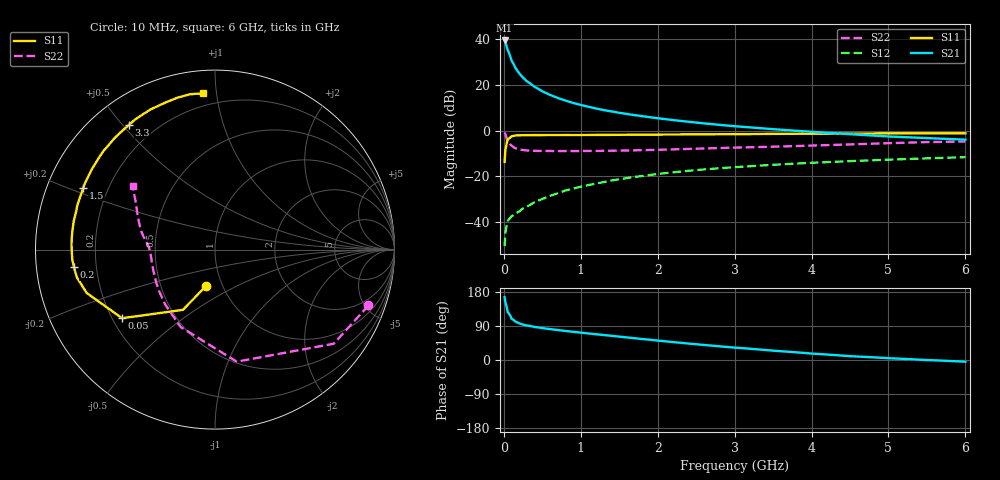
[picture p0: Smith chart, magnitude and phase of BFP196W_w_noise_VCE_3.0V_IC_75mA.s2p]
! Infineon Technologies  Discrete & RF Semiconductors
! BFP196W
! VCE =  3.0 V,  IC =  75 mA
! Common Emitter S-Parameters:  Jan 2017
# GHz  S  MA  R  50
!  f  S11  S21  S12  S22
! GHz  MAG  ANG  MAG  ANG  MAG  ANG  MAG  ANG
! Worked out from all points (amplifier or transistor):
!   77 points, 10 MHz to 6 GHz, reference 50 ohm
!   highest |S21| = 39.4 dB at 10 MHz (marker M1)
!   |S21| within 3 dB of that: start of sweep to 39.53 MHz
!   unconditionally stable (mu >= 1): 507.9 MHz to 3.344 GHz
!   at 130 MHz: K = 0.56, MSG = 32.8 dB, |S12| = -36.7 dB
!   at 2.2 GHz: K = 1.03, MAG = 10.3 dB, |S12| = -18.2 dB
!   at 6 GHz: K = 0.96, MSG = 3.8 dB, |S12| = -11.6 dB
!   lowest NFmin = 1.62 dB at 450 MHz
!   S11 on the Smith chart (normalised r, x): 10 MHz: 0.84, -0.35; 50 MHz: 0.24, -0.31; 200 MHz: 0.12, -0.06; 1.5 GHz: 0.11, +0.22; 3.3 GHz: 0.11, +0.52; 6 GHz: 0.12, +0.92
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0.01  0.2076 -103.7  93.25 165.8  0.003 76.4  0.9101 -20.0
0.02  0.3801 -118.0  85.4 152.1  0.0059 69.6  0.8442 -38.4
0.05  0.644 -143.6  58.2 126.3  0.0106 49.3  0.636 -79.0
0.1  0.7543 -161.3  34.06 108.9  0.0134 46.0  0.4723 -113.8
0.15  0.7852 -168.6  23.55 101.4  0.0155 47.1  0.4131 -132.1
0.2  0.7917 -172.9  17.84 96.7  0.0172 50.6  0.3896 -142.4
0.25  0.7972 -176.0  14.34 93.4  0.0201 53.7  0.3767 -149.7
0.3  0.7974 -178.4  11.98 91.1  0.0217 55.8  0.3698 -154.5
0.4  0.8001 178.0  9.047 87.2  0.0274 60.0  0.3628 -161.1
0.5  0.8006 175.2  7.241 84.2  0.0322 63.0  0.36 -165.2
0.6  0.8014 172.7  6.054 81.5  0.0377 63.7  0.3601 -168.3
0.7  0.8016 170.6  5.184 79.2  0.0428 65.9  0.3579 -170.6
0.9  0.8023 166.2  4.029 74.4  0.0541 66.3  0.3588 -173.9
1.1  0.806 162.1  3.321 70.1  0.0648 66.0  0.3605 -176.5
1.3  0.8072 158.3  2.815 65.9  0.0753 64.8  0.3625 -178.8
1.5  0.8113 154.8  2.454 61.7  0.0868 63.7  0.3667 179.0
2.1  0.8218 143.7  1.783 49.3  0.1181 58.6  0.3859 173.3
3.1  0.8398 127.5  1.214 31.3  0.1634 48.6  0.4297 164.6
3.3  0.8441 124.6  1.144 28.1  0.1713 46.8  0.4378 162.8
4.1  0.86 113.5  0.921 15.8  0.2021 39.6  0.4772 155.0
5.1  0.8726 102.8  0.734 3.9  0.2354 31.3  0.5382 146.4
6  0.8734 94.5  0.635 -4.4  0.2641 24.2  0.5775 142.0
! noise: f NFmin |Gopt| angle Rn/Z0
0.45  1.62  0.56  -175  0.06
0.9  1.75  0.59  -169  0.07
1.9  2.61  0.7  -148  0.19
2.4  3.01  0.74  -143  0.31
